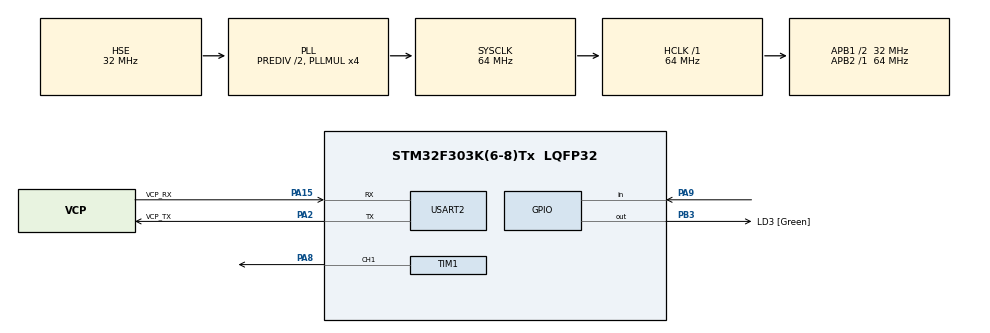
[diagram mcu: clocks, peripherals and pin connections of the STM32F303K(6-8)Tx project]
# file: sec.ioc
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Mcu.Family=STM32F3
Mcu.Name=STM32F303K(6-8)Tx
Mcu.Package=LQFP32
NVIC.PriorityGroup=NVIC_PRIORITYGROUP_4
NVIC.TIM1_TRG_COM_TIM17_IRQn=true\:0\:0\:false\:false\:true\:true\:true
NVIC.TIM7_DAC2_IRQn=true\:0\:0\:false\:false\:true\:true\:true
NVIC.USART2_IRQn=true\:0\:0\:false\:false\:true\:true\:true
PA13.GPIO_Label=SWDIO
PA13.Mode=Serial_Wire
PA13.Signal=SYS_JTMS-SWDIO
PA14.GPIO_Label=SWCLK
PA14.Mode=Serial_Wire
PA14.Signal=SYS_JTCK-SWCLK
PA15.GPIO_Label=VCP_RX
PA15.Mode=Asynchronous
PA15.Signal=USART2_RX
PA2.GPIO_Label=VCP_TX
PA2.Mode=Asynchronous
PA2.Signal=USART2_TX
PA8.Signal=S_TIM1_CH1
PA9.GPIO_PuPd=GPIO_PULLDOWN
PA9.Signal=GPIO_Input
PB3.GPIO_Label=LD3 [Green]
PB3.Signal=GPIO_Output
PF0\ /\ OSC_IN.GPIO_Label=MCO
PF0\ /\ OSC_IN.Mode=HSE-External-Clock-Source
PF0\ /\ OSC_IN.Signal=RCC_OSC_IN
ProjectManager.HeapSize=0x200
ProjectManager.StackSize=0x400
ProjectManager.TargetToolchain=STM32CubeIDE
RCC.AHBFreq_Value=64000000
RCC.APB1CLKDivider=RCC_HCLK_DIV2
RCC.APB1Freq_Value=32000000
RCC.APB1TimFreq_Value=64000000
RCC.APB2Freq_Value=64000000
RCC.APB2TimFreq_Value=64000000
RCC.CortexFreq_Value=64000000
RCC.HCLKFreq_Value=64000000
RCC.HSE_VALUE=32000000
RCC.HSI_VALUE=8000000
RCC.PLLMUL=RCC_PLL_MUL4
RCC.PLLSourceVirtual=RCC_PLLSOURCE_HSE
RCC.RCC_PLLsource_Clock_Source_FROM_HSE=RCC_HSE_PREDIV_DIV2
RCC.SYSCLKFreq_VALUE=64000000
RCC.SYSCLKSourceVirtual=RCC_SYSCLKSOURCE_PLLCLK
SH.S_TIM1_CH1.0=TIM1_CH1,PWM Generation1 CH1
TIM1.AutoReloadPreload=TIM_AUTORELOAD_PRELOAD_ENABLE
TIM1.Channel-PWM\ Generation1\ CH1=TIM_CHANNEL_1
TIM1.Period=1
TIM1.Prescaler=121
TIM1.Pulse-PWM\ Generation1\ CH1=1
TIM7.AutoReloadPreload=TIM_AUTORELOAD_PRELOAD_ENABLE
TIM7.Period=1000
TIM7.Prescaler=79
TIM7.TIM_MasterOutputTrigger=TIM_TRGO_UPDATE
USART2.VirtualMode-Asynchronous=VM_ASYNC
VP_TIM1_VS_ClockSourceINT.Mode=Internal
VP_TIM7_VS_ClockSourceINT.Mode=Enable_Timer
board=NUCLEO-F303K8

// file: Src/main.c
/* USER CODE BEGIN Header */
/**
  ******************************************************************************
  * @file           : main.c
  * @brief          : Main program body
  ******************************************************************************
  * @attention
  *
  * <h2><center>&copy; Copyright (c) 2019 STMicroelectronics.
  * All rights reserved.</center></h2>
  *
  * This software component is licensed by ST under BSD 3-Clause license,
  * the "License"; You may not use this file except in compliance with the
  * License. You may obtain a copy of the License at:
  *                        opensource.org/licenses/BSD-3-Clause
  *
  ******************************************************************************
  */
/* USER CODE END Header */

#include "main.h"

/* USER CODE BEGIN Includes */
#include "dwt_delay.h"
#include "stdbool.h"
/* USER CODE END Includes */

TIM_HandleTypeDef htim1;
TIM_HandleTypeDef htim7;

UART_HandleTypeDef huart2;

/* USER CODE BEGIN PV */
uint32_t timing, rast;
bool flagg;
/* USER CODE END PV */

void SystemClock_Config(void);
static void MX_GPIO_Init(void);
static void MX_USART2_UART_Init(void);
static void MX_TIM1_Init(void);
static void MX_TIM7_Init(void);

int main(void)
{

  /* MCU Configuration--------------------------------------------------------*/

  /* Reset of all peripherals, Initializes the Flash interface and the Systick. */
  HAL_Init();

  /* USER CODE BEGIN Init */
  DWT_Init();
  /* USER CODE END Init */

  /* Configure the system clock */
  SystemClock_Config();

  /* Initialize all configured peripherals */
  MX_GPIO_Init();
  MX_USART2_UART_Init();
  MX_TIM1_Init();
  MX_TIM7_Init();

  /* Infinite loop */
  /* USER CODE BEGIN WHILE */
  uint32_t startTick, endTick;
  while (1)
  {
	  flagg = 1;
	  timing = 0;
	  HAL_TIM_PWM_Start(&htim1,TIM_CHANNEL_1);//включаем генерацию шима для излучений уз
	  DWT_Delay(150);
	  HAL_TIM_PWM_Stop(&htim1, TIM_CHANNEL_1);//выключаем генерацию шима для излучений уз
      startTick = DWT->CYCCNT;
	  while(!HAL_GPIO_ReadPin(GPIOA, GPIO_PIN_9) && ((((DWT->CYCCNT)-startTick)/(SystemCoreClock/1000000)/29)<600));
	  endTick = DWT->CYCCNT;
	  rast = (endTick-startTick)/(SystemCoreClock/1000000);
	  HAL_Delay(1000);

    /* USER CODE END WHILE */

  }
}

void SystemClock_Config(void)
{
  RCC_OscInitTypeDef RCC_OscInitStruct = {0};
  RCC_ClkInitTypeDef RCC_ClkInitStruct = {0};
  RCC_PeriphCLKInitTypeDef PeriphClkInit = {0};

  /** Initializes the CPU, AHB and APB busses clocks
  */
  RCC_OscInitStruct.OscillatorType = RCC_OSCILLATORTYPE_HSE;
  RCC_OscInitStruct.HSEState = RCC_HSE_BYPASS;
  RCC_OscInitStruct.HSEPredivValue = RCC_HSE_PREDIV_DIV2;
  RCC_OscInitStruct.HSIState = RCC_HSI_ON;
  RCC_OscInitStruct.PLL.PLLState = RCC_PLL_ON;
  RCC_OscInitStruct.PLL.PLLSource = RCC_PLLSOURCE_HSE;
  RCC_OscInitStruct.PLL.PLLMUL = RCC_PLL_MUL4;
  if (HAL_RCC_OscConfig(&RCC_OscInitStruct) != HAL_OK)
  {
    Error_Handler();
  }
  /** Initializes the CPU, AHB and APB busses clocks
  */
  RCC_ClkInitStruct.ClockType = RCC_CLOCKTYPE_HCLK|RCC_CLOCKTYPE_SYSCLK
                              |RCC_CLOCKTYPE_PCLK1|RCC_CLOCKTYPE_PCLK2;
  RCC_ClkInitStruct.SYSCLKSource = RCC_SYSCLKSOURCE_PLLCLK;
  RCC_ClkInitStruct.AHBCLKDivider = RCC_SYSCLK_DIV1;
  RCC_ClkInitStruct.APB1CLKDivider = RCC_HCLK_DIV2;
  RCC_ClkInitStruct.APB2CLKDivider = RCC_HCLK_DIV1;

  if (HAL_RCC_ClockConfig(&RCC_ClkInitStruct, FLASH_LATENCY_2) != HAL_OK)
  {
    Error_Handler();
  }
  PeriphClkInit.PeriphClockSelection = RCC_PERIPHCLK_TIM1;
  PeriphClkInit.Tim1ClockSelection = RCC_TIM1CLK_HCLK;
  if (HAL_RCCEx_PeriphCLKConfig(&PeriphClkInit) != HAL_OK)
  {
    Error_Handler();
  }
}

static void MX_TIM1_Init(void)
{

  TIM_ClockConfigTypeDef sClockSourceConfig = {0};
  TIM_MasterConfigTypeDef sMasterConfig = {0};
  TIM_OC_InitTypeDef sConfigOC = {0};
  TIM_BreakDeadTimeConfigTypeDef sBreakDeadTimeConfig = {0};

  htim1.Instance = TIM1;
  htim1.Init.Prescaler = 121;
  htim1.Init.CounterMode = TIM_COUNTERMODE_UP;
  htim1.Init.Period = 1;
  htim1.Init.ClockDivision = TIM_CLOCKDIVISION_DIV1;
  htim1.Init.RepetitionCounter = 0;
  htim1.Init.AutoReloadPreload = TIM_AUTORELOAD_PRELOAD_ENABLE;
  if (HAL_TIM_Base_Init(&htim1) != HAL_OK)
  {
    Error_Handler();
  }
  sClockSourceConfig.ClockSource = TIM_CLOCKSOURCE_INTERNAL;
  if (HAL_TIM_ConfigClockSource(&htim1, &sClockSourceConfig) != HAL_OK)
  {
    Error_Handler();
  }
  if (HAL_TIM_PWM_Init(&htim1) != HAL_OK)
  {
    Error_Handler();
  }
  sMasterConfig.MasterOutputTrigger = TIM_TRGO_RESET;
  sMasterConfig.MasterOutputTrigger2 = TIM_TRGO2_RESET;
  sMasterConfig.MasterSlaveMode = TIM_MASTERSLAVEMODE_DISABLE;
  if (HAL_TIMEx_MasterConfigSynchronization(&htim1, &sMasterConfig) != HAL_OK)
  {
    Error_Handler();
  }
  sConfigOC.OCMode = TIM_OCMODE_PWM1;
  sConfigOC.Pulse = 1;
  sConfigOC.OCPolarity = TIM_OCPOLARITY_HIGH;
  sConfigOC.OCNPolarity = TIM_OCNPOLARITY_HIGH;
  sConfigOC.OCFastMode = TIM_OCFAST_DISABLE;
  sConfigOC.OCIdleState = TIM_OCIDLESTATE_RESET;
  sConfigOC.OCNIdleState = TIM_OCNIDLESTATE_RESET;
  if (HAL_TIM_PWM_ConfigChannel(&htim1, &sConfigOC, TIM_CHANNEL_1) != HAL_OK)
  {
    Error_Handler();
  }
  sBreakDeadTimeConfig.OffStateRunMode = TIM_OSSR_DISABLE;
  sBreakDeadTimeConfig.OffStateIDLEMode = TIM_OSSI_DISABLE;
  sBreakDeadTimeConfig.LockLevel = TIM_LOCKLEVEL_OFF;
  sBreakDeadTimeConfig.DeadTime = 0;
  sBreakDeadTimeConfig.BreakState = TIM_BREAK_DISABLE;
  sBreakDeadTimeConfig.BreakPolarity = TIM_BREAKPOLARITY_HIGH;
  sBreakDeadTimeConfig.BreakFilter = 0;
  sBreakDeadTimeConfig.Break2State = TIM_BREAK2_DISABLE;
  sBreakDeadTimeConfig.Break2Polarity = TIM_BREAK2POLARITY_HIGH;
  sBreakDeadTimeConfig.Break2Filter = 0;
  sBreakDeadTimeConfig.AutomaticOutput = TIM_AUTOMATICOUTPUT_DISABLE;
  if (HAL_TIMEx_ConfigBreakDeadTime(&htim1, &sBreakDeadTimeConfig) != HAL_OK)
  {
    Error_Handler();
  }
  HAL_TIM_MspPostInit(&htim1);

}

static void MX_TIM7_Init(void)
{

  TIM_MasterConfigTypeDef sMasterConfig = {0};

  htim7.Instance = TIM7;
  htim7.Init.Prescaler = 79;
  htim7.Init.CounterMode = TIM_COUNTERMODE_UP;
  htim7.Init.Period = 1000;
  htim7.Init.AutoReloadPreload = TIM_AUTORELOAD_PRELOAD_ENABLE;
  if (HAL_TIM_Base_Init(&htim7) != HAL_OK)
  {
    Error_Handler();
  }
  sMasterConfig.MasterOutputTrigger = TIM_TRGO_UPDATE;
  sMasterConfig.MasterSlaveMode = TIM_MASTERSLAVEMODE_DISABLE;
  if (HAL_TIMEx_MasterConfigSynchronization(&htim7, &sMasterConfig) != HAL_OK)
  {
    Error_Handler();
  }

}

static void MX_USART2_UART_Init(void)
{

  huart2.Instance = USART2;
  huart2.Init.BaudRate = 38400;
  huart2.Init.WordLength = UART_WORDLENGTH_8B;
  huart2.Init.StopBits = UART_STOPBITS_1;
  huart2.Init.Parity = UART_PARITY_NONE;
  huart2.Init.Mode = UART_MODE_TX_RX;
  huart2.Init.HwFlowCtl = UART_HWCONTROL_NONE;
  huart2.Init.OverSampling = UART_OVERSAMPLING_16;
  huart2.Init.OneBitSampling = UART_ONE_BIT_SAMPLE_DISABLE;
  huart2.AdvancedInit.AdvFeatureInit = UART_ADVFEATURE_NO_INIT;
  if (HAL_UART_Init(&huart2) != HAL_OK)
  {
    Error_Handler();
  }

}

static void MX_GPIO_Init(void)
{
  GPIO_InitTypeDef GPIO_InitStruct = {0};

  /* GPIO Ports Clock Enable */
  __HAL_RCC_GPIOF_CLK_ENABLE();
  __HAL_RCC_GPIOA_CLK_ENABLE();
  __HAL_RCC_GPIOB_CLK_ENABLE();

  /*Configure GPIO pin Output Level */
  HAL_GPIO_WritePin(LD3_GPIO_Port, LD3_Pin, GPIO_PIN_RESET);

  /*Configure GPIO pin : PA9 */
  GPIO_InitStruct.Pin = GPIO_PIN_9;
  GPIO_InitStruct.Mode = GPIO_MODE_INPUT;
  GPIO_InitStruct.Pull = GPIO_PULLDOWN;
  HAL_GPIO_Init(GPIOA, &GPIO_InitStruct);

  /*Configure GPIO pin : LD3_Pin */
  GPIO_InitStruct.Pin = LD3_Pin;
  GPIO_InitStruct.Mode = GPIO_MODE_OUTPUT_PP;
  GPIO_InitStruct.Pull = GPIO_NOPULL;
  GPIO_InitStruct.Speed = GPIO_SPEED_FREQ_LOW;
  HAL_GPIO_Init(LD3_GPIO_Port, &GPIO_InitStruct);

}

void Error_Handler(void)
{
}

/************************ (C) COPYRIGHT STMicroelectronics *****END OF FILE****/
